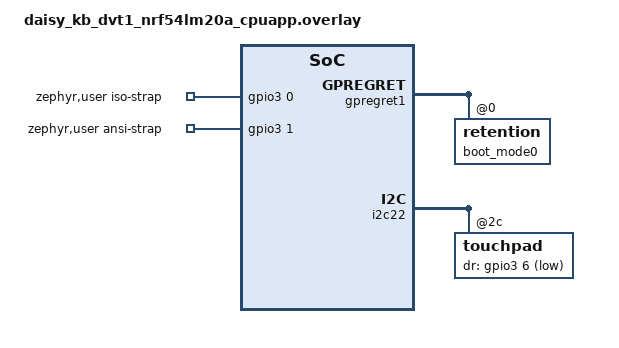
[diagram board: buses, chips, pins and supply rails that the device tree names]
/ {
    chosen {
        zmk,keyboard-hid = &hid_dev_0;
        zephyr,boot-mode = &boot_mode0;
        zephyr,uart-mcumgr = &mcumgr_cdc_acm;
    };

    hid_dev_0: hid_dev_0 {
        compatible = "zephyr,hid-device";
        label = "HID0";
        protocol-code = "keyboard";
        in-report-size = <64>;
        in-polling-period-us = <1000>;
    };

    /* Layout strap GPIOs (read at boot to detect ANSI/ISO/JIS). */
    zephyr,user {
        iso-strap-gpios = <&gpio3 0 GPIO_ACTIVE_HIGH>;
        ansi-strap-gpios = <&gpio3 1 GPIO_ACTIVE_HIGH>;
    };
};

&gpregret1 {
    status = "okay";

    boot_mode0: boot_mode@0 {
        compatible = "zephyr,retention";
        status = "okay";
        reg = <0x0 0x1>;
    };
};

&zephyr_udc0 {
    mcumgr_cdc_acm: mcumgr_cdc_acm {
        compatible = "zephyr,cdc-acm-uart";
        label = "Daisy MCUmgr";
    };
};

#include "nrf54lm20a_partitions.dtsi"

/* Reroute the shield's direct button input at the KB EVT's pairing/mode
 * switches (declared as gpio-keys on the board). */
// &buttons_input {
//     /delete-property/ input-gpios;
//     input-keys = <&pairing_button &protocol_switch>;
// };

/* Daisy EVT matrix: KSI0..7 on P0.00..P0.07, KSO0..17 on P1.00..P1.17. */
&matrix_input {
    col-gpios
        = <&gpio1  0 GPIO_ACTIVE_HIGH> // KSO0
        , <&gpio1  1 GPIO_ACTIVE_HIGH> // KSO1
	// Changing to P1.18 in DVT1
        , <&gpio1  2 GPIO_ACTIVE_HIGH> // KSO2
	// Changing to P1.19 in DVT1
        , <&gpio1  3 GPIO_ACTIVE_HIGH> // KSO3
        , <&gpio1  4 GPIO_ACTIVE_HIGH> // KSO4
        , <&gpio1  5 GPIO_ACTIVE_HIGH> // KSO5
        , <&gpio1  6 GPIO_ACTIVE_HIGH> // KSO6
        , <&gpio1  7 GPIO_ACTIVE_HIGH> // KSO7
        , <&gpio1  8 GPIO_ACTIVE_HIGH> // KSO8
        , <&gpio1  9 GPIO_ACTIVE_HIGH> // KSO9
        , <&gpio1 10 GPIO_ACTIVE_HIGH> // KSO10
        , <&gpio1 11 GPIO_ACTIVE_HIGH> // KSO11
        , <&gpio1 12 GPIO_ACTIVE_HIGH> // KSO12
        , <&gpio1 13 GPIO_ACTIVE_HIGH> // KSO13
        , <&gpio1 14 GPIO_ACTIVE_HIGH> // KSO14
        , <&gpio1 15 GPIO_ACTIVE_HIGH> // KSO15
        , <&gpio1 16 GPIO_ACTIVE_HIGH> // KSO16
        , <&gpio1 17 GPIO_ACTIVE_HIGH> // KSO17
        ;

    row-gpios
        = <&gpio0 0 (GPIO_ACTIVE_HIGH | GPIO_PULL_DOWN)> // KSI0
        , <&gpio0 1 (GPIO_ACTIVE_HIGH | GPIO_PULL_DOWN)> // KSI1
        , <&gpio0 2 (GPIO_ACTIVE_HIGH | GPIO_PULL_DOWN)> // KSI2
        , <&gpio0 3 (GPIO_ACTIVE_HIGH | GPIO_PULL_DOWN)> // KSI3
        , <&gpio0 4 (GPIO_ACTIVE_HIGH | GPIO_PULL_DOWN)> // KSI4
        , <&gpio0 5 (GPIO_ACTIVE_HIGH | GPIO_PULL_DOWN)> // KSI5
        , <&gpio0 6 (GPIO_ACTIVE_HIGH | GPIO_PULL_DOWN)> // KSI6
        , <&gpio0 7 (GPIO_ACTIVE_HIGH | GPIO_PULL_DOWN)> // KSI7
        ;
};

&i2c22 {
    touchpad: touchpad@2c {
        #include "../daisy-touchpad.dtsi"
        dr-gpios = <&gpio3 6 (GPIO_ACTIVE_LOW | GPIO_PULL_UP)>;
    };
};
